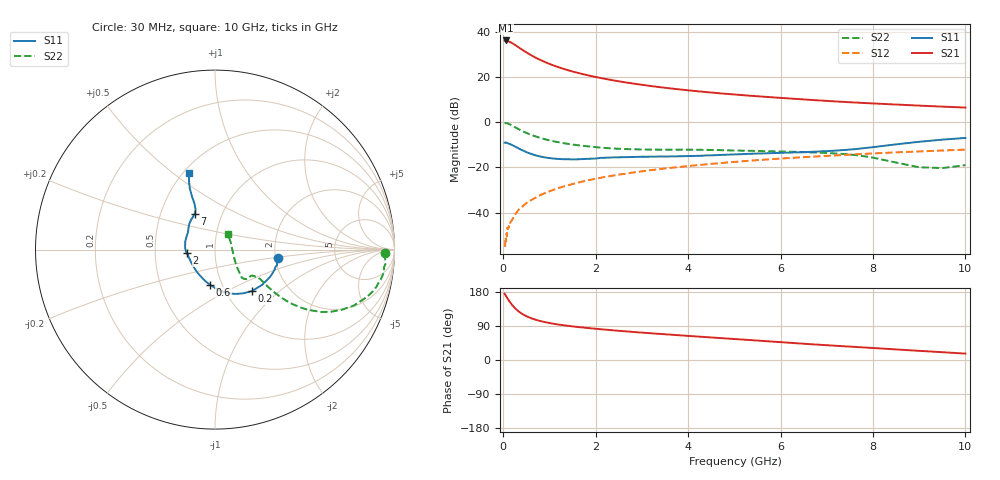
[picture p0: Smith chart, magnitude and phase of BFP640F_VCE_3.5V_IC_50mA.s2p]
! Infineon Technologies  Discrete & RF Semiconductors
! BFP640F
! VCE =  3.5 V,  IC =  50 mA
! Common Emitter S-Parameters:  Apr 2013
# GHz  S  MA  R  50
!  f  S11  S21  S12  S22
! GHz  MAG  ANG  MAG  ANG  MAG  ANG  MAG  ANG
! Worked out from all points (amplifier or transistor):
!   99 points, 30 MHz to 10 GHz, reference 50 ohm
!   highest |S21| = 36.2 dB at 50 MHz (marker M1)
!   |S21| within 3 dB of that: start of sweep to 329.4 MHz
!   unconditionally stable (mu >= 1): 1.368 GHz to end of sweep
!   at 350 MHz: K = 0.63, MSG = 35.6 dB, |S12| = -38.4 dB
!   at 3.5 GHz: K = 1.07, MAG = 16.3 dB, |S12| = -20.5 dB
!   at 10 GHz: K = 1.04, MAG = 8.1 dB, |S12| = -12.2 dB
!   S11 on the Smith chart (normalised r, x): 30 MHz: 2.05, -0.22; 200 MHz: 1.32, -0.68; 600 MHz: 0.88, -0.36; 2 GHz: 0.73, -0.03; 7 GHz: 0.74, +0.31; 10 GHz: 0.54, +0.57
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0.03  0.3519 -7.8  63.54 174.9  0.0019 92.6  0.9454 -1.2
0.05  0.3564 -13.6  64.35 171.1  0.0028 72.7  0.9541 -4.6
0.08  0.3476 -21.0  63.64 164.9  0.003 87.7  0.9443 -8.8
0.12  0.335 -31.3  61.22 157.3  0.005 78.5  0.9149 -14.1
0.15  0.325 -38.2  59.34 152.1  0.0059 83.7  0.8854 -17.4
0.2  0.3094 -48.4  55.65 144.2  0.0071 78.0  0.8337 -22.0
0.25  0.2906 -56.8  51.72 137.5  0.0088 79.4  0.7803 -25.5
0.3  0.2733 -64.7  47.84 131.7  0.0104 74.1  0.731 -28.3
0.4  0.2415 -77.7  40.81 122.5  0.013 76.1  0.6441 -31.9
0.5  0.2176 -88.1  35.07 115.7  0.0161 76.2  0.5789 -34.0
0.6  0.199 -97.7  30.51 110.5  0.0187 75.5  0.5253 -35.2
0.8  0.1737 -114.0  23.91 102.9  0.0242 75.4  0.4487 -35.9
1  0.1604 -128.5  19.48 97.6  0.0295 75.3  0.3961 -35.7
1.3  0.1511 -145.8  15.21 91.8  0.0374 74.6  0.3432 -34.5
1.7  0.1524 -163.4  11.72 86.0  0.0481 73.1  0.3013 -33.1
2  0.1566 -173.0  10 82.4  0.0561 71.7  0.2805 -33.1
3.4  0.1741 157.9  5.938 68.8  0.0919 64.5  0.2462 -38.2
5.1  0.1948 138.6  4.024 54.6  0.1342 55.3  0.2351 -44.3
6.7  0.2214 123.3  3.092 41.3  0.1725 46.0  0.2134 -46.1
7  0.2279 120.0  2.958 39.0  0.1792 44.3  0.2078 -45.4
8.5  0.3227 113.4  2.457 27.9  0.2144 35.6  0.1278 -29.5
10  0.4482 108.7  2.106 16.9  0.2468 26.8  0.1119 50.3
